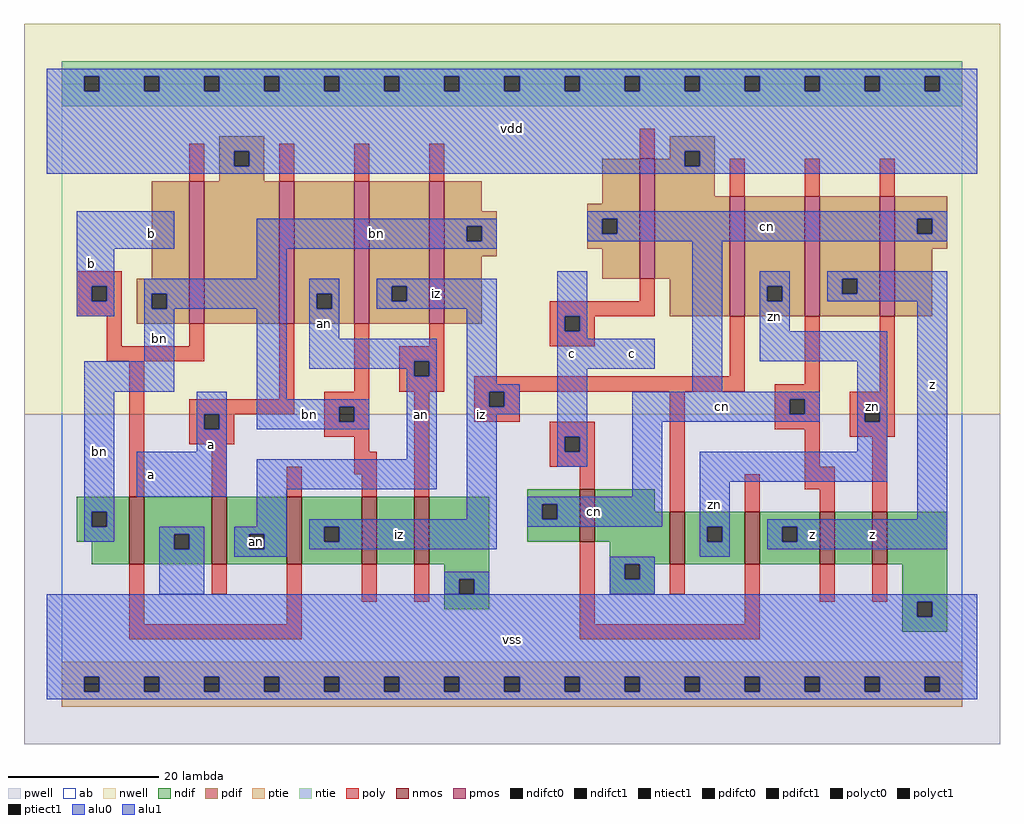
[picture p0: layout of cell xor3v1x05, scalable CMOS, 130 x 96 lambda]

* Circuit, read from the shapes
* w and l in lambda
.subckt xor3v1x05 a an b bn c cn iz vdd vss z zn
M1 vss b bn vss nfet w=9 l=2
M2 an a vss vss nfet w=9 l=2
M3 iz b an vss nfet w=9 l=2
M4 n1 bn iz vss nfet w=9 l=2
M5 vss an n1 vss nfet w=9 l=2
M6 vss c cn vss nfet w=7 l=2
M7 zn iz vss vss nfet w=7 l=2
M8 z c zn vss nfet w=7 l=2
M9 n2 cn z vss nfet w=7 l=2
M10 vss zn n2 vss nfet w=7 l=2
M11 vdd b bn vdd pfet w=19 l=2
M12 an a vdd vdd pfet w=19 l=2
M13 iz bn an vdd pfet w=19 l=2
M14 bn an iz vdd pfet w=19 l=2
M15 vdd c cn vdd pfet w=16 l=2
M16 zn iz vdd vdd pfet w=16 l=2
M17 z cn zn vdd pfet w=16 l=2
M18 cn zn z vdd pfet w=16 l=2
.ends

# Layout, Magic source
magic
tech scmos
<< ab >>
rect 0 0 120 80
<< nwell >>
rect -5 36 125 88
<< pwell >>
rect -5 -8 125 36
<< poly >>
rect 17 67 19 72
rect 29 67 31 72
rect 39 67 41 72
rect 49 67 51 72
rect 77 70 79 74
rect 2 53 8 55
rect 2 51 4 53
rect 6 51 8 53
rect 2 49 8 51
rect 6 45 8 49
rect 89 65 91 70
rect 99 65 101 70
rect 109 65 111 70
rect 77 51 79 54
rect 65 49 79 51
rect 17 45 19 48
rect 6 43 19 45
rect 9 25 11 43
rect 29 38 31 48
rect 39 39 41 48
rect 49 45 51 48
rect 65 47 67 49
rect 69 47 71 49
rect 65 45 71 47
rect 45 43 51 45
rect 45 41 47 43
rect 49 41 51 43
rect 89 41 91 49
rect 45 39 51 41
rect 55 39 91 41
rect 99 40 101 49
rect 17 36 31 38
rect 35 37 41 39
rect 17 34 19 36
rect 21 34 23 36
rect 17 32 23 34
rect 35 35 37 37
rect 39 35 41 37
rect 35 33 41 35
rect 20 25 22 32
rect 39 31 41 33
rect 30 25 32 29
rect 39 28 42 31
rect 40 25 42 28
rect 47 25 49 39
rect 55 37 57 39
rect 59 37 61 39
rect 55 35 61 37
rect 65 33 71 35
rect 65 31 67 33
rect 69 31 71 33
rect 65 29 71 31
rect 69 26 71 29
rect 81 23 83 39
rect 95 38 101 40
rect 109 39 111 49
rect 95 36 97 38
rect 99 36 101 38
rect 95 34 101 36
rect 99 29 101 34
rect 105 37 111 39
rect 105 35 107 37
rect 109 35 111 37
rect 105 33 111 35
rect 91 23 93 28
rect 99 26 103 29
rect 101 23 103 26
rect 108 23 110 33
rect 9 8 11 16
rect 20 12 22 16
rect 30 8 32 16
rect 40 11 42 16
rect 47 11 49 16
rect 9 6 32 8
rect 69 8 71 19
rect 81 12 83 16
rect 91 8 93 16
rect 101 11 103 16
rect 108 11 110 16
rect 69 6 93 8
<< ndif >>
rect 2 23 9 25
rect 2 21 4 23
rect 6 21 9 23
rect 2 19 9 21
rect 4 16 9 19
rect 11 20 20 25
rect 11 18 15 20
rect 17 18 20 20
rect 11 16 20 18
rect 22 20 30 25
rect 22 18 25 20
rect 27 18 30 20
rect 22 16 30 18
rect 32 21 40 25
rect 32 19 35 21
rect 37 19 40 21
rect 32 16 40 19
rect 42 16 47 25
rect 49 16 57 25
rect 62 24 69 26
rect 62 22 64 24
rect 66 22 69 24
rect 62 19 69 22
rect 71 23 79 26
rect 71 19 81 23
rect 51 14 57 16
rect 51 12 53 14
rect 55 12 57 14
rect 51 10 57 12
rect 73 16 81 19
rect 83 21 91 23
rect 83 19 86 21
rect 88 19 91 21
rect 83 16 91 19
rect 93 21 101 23
rect 93 19 96 21
rect 98 19 101 21
rect 93 16 101 19
rect 103 16 108 23
rect 110 16 118 23
rect 73 14 75 16
rect 77 14 79 16
rect 73 12 79 14
rect 112 11 118 16
rect 112 9 114 11
rect 116 9 118 11
rect 112 7 118 9
<< pdif >>
rect 21 71 27 73
rect 21 69 23 71
rect 25 69 27 71
rect 21 67 27 69
rect 81 71 87 73
rect 81 70 83 71
rect 12 54 17 67
rect 10 52 17 54
rect 10 50 12 52
rect 14 50 17 52
rect 10 48 17 50
rect 19 48 29 67
rect 31 52 39 67
rect 31 50 34 52
rect 36 50 39 52
rect 31 48 39 50
rect 41 53 49 67
rect 41 51 44 53
rect 46 51 49 53
rect 41 48 49 51
rect 51 63 56 67
rect 72 64 77 70
rect 51 61 58 63
rect 51 59 54 61
rect 56 59 58 61
rect 51 57 58 59
rect 70 62 77 64
rect 70 60 72 62
rect 74 60 77 62
rect 70 58 77 60
rect 51 48 56 57
rect 72 54 77 58
rect 79 69 83 70
rect 85 69 87 71
rect 79 65 87 69
rect 79 54 89 65
rect 81 49 89 54
rect 91 53 99 65
rect 91 51 94 53
rect 96 51 99 53
rect 91 49 99 51
rect 101 54 109 65
rect 101 52 104 54
rect 106 52 109 54
rect 101 49 109 52
rect 111 62 118 65
rect 111 60 114 62
rect 116 60 118 62
rect 111 58 118 60
rect 111 49 116 58
<< alu1 >>
rect -2 81 122 82
rect -2 79 3 81
rect 5 79 11 81
rect 13 79 19 81
rect 21 79 27 81
rect 29 79 35 81
rect 37 79 43 81
rect 45 79 51 81
rect 53 79 59 81
rect 61 79 67 81
rect 69 79 75 81
rect 77 79 83 81
rect 85 79 91 81
rect 93 79 99 81
rect 101 79 107 81
rect 109 79 115 81
rect 117 79 122 81
rect -2 71 122 79
rect -2 69 23 71
rect 25 69 83 71
rect 85 69 122 71
rect -2 68 122 69
rect 2 58 15 63
rect 2 53 7 58
rect 2 51 4 53
rect 6 51 7 53
rect 2 49 7 51
rect 18 36 22 39
rect 18 34 19 36
rect 21 34 22 36
rect 18 31 22 34
rect 10 25 22 31
rect 66 49 70 55
rect 66 47 67 49
rect 69 47 70 49
rect 66 46 70 47
rect 66 42 79 46
rect 66 33 70 42
rect 102 54 118 55
rect 102 52 104 54
rect 106 52 118 54
rect 102 51 118 52
rect 66 31 67 33
rect 69 31 70 33
rect 66 29 70 31
rect 114 22 118 51
rect 94 21 118 22
rect 94 19 96 21
rect 98 19 118 21
rect 94 18 118 19
rect -2 11 122 12
rect -2 9 114 11
rect 116 9 122 11
rect -2 1 122 9
rect -2 -1 3 1
rect 5 -1 11 1
rect 13 -1 19 1
rect 21 -1 27 1
rect 29 -1 35 1
rect 37 -1 43 1
rect 45 -1 51 1
rect 53 -1 59 1
rect 61 -1 67 1
rect 69 -1 75 1
rect 77 -1 83 1
rect 85 -1 91 1
rect 93 -1 99 1
rect 101 -1 107 1
rect 109 -1 115 1
rect 117 -1 122 1
rect -2 -2 122 -1
<< ptie >>
rect 0 1 120 3
rect 0 -1 3 1
rect 5 -1 11 1
rect 13 -1 19 1
rect 21 -1 27 1
rect 29 -1 35 1
rect 37 -1 43 1
rect 45 -1 51 1
rect 53 -1 59 1
rect 61 -1 67 1
rect 69 -1 75 1
rect 77 -1 83 1
rect 85 -1 91 1
rect 93 -1 99 1
rect 101 -1 107 1
rect 109 -1 115 1
rect 117 -1 120 1
rect 0 -3 120 -1
<< ntie >>
rect 0 81 120 83
rect 0 79 3 81
rect 5 79 11 81
rect 13 79 19 81
rect 21 79 27 81
rect 29 79 35 81
rect 37 79 43 81
rect 45 79 51 81
rect 53 79 59 81
rect 61 79 67 81
rect 69 79 75 81
rect 77 79 83 81
rect 85 79 91 81
rect 93 79 99 81
rect 101 79 107 81
rect 109 79 115 81
rect 117 79 120 81
rect 0 77 120 79
<< nmos >>
rect 9 16 11 25
rect 20 16 22 25
rect 30 16 32 25
rect 40 16 42 25
rect 47 16 49 25
rect 69 19 71 26
rect 81 16 83 23
rect 91 16 93 23
rect 101 16 103 23
rect 108 16 110 23
<< pmos >>
rect 17 48 19 67
rect 29 48 31 67
rect 39 48 41 67
rect 49 48 51 67
rect 77 54 79 70
rect 89 49 91 65
rect 99 49 101 65
rect 109 49 111 65
<< polyct0 >>
rect 47 41 49 43
rect 37 35 39 37
rect 57 37 59 39
rect 97 36 99 38
rect 107 35 109 37
<< polyct1 >>
rect 4 51 6 53
rect 67 47 69 49
rect 19 34 21 36
rect 67 31 69 33
<< ndifct0 >>
rect 4 21 6 23
rect 15 18 17 20
rect 25 18 27 20
rect 35 19 37 21
rect 64 22 66 24
rect 53 12 55 14
rect 86 19 88 21
rect 75 14 77 16
<< ndifct1 >>
rect 96 19 98 21
rect 114 9 116 11
<< ntiect1 >>
rect 3 79 5 81
rect 11 79 13 81
rect 19 79 21 81
rect 27 79 29 81
rect 35 79 37 81
rect 43 79 45 81
rect 51 79 53 81
rect 59 79 61 81
rect 67 79 69 81
rect 75 79 77 81
rect 83 79 85 81
rect 91 79 93 81
rect 99 79 101 81
rect 107 79 109 81
rect 115 79 117 81
<< ptiect1 >>
rect 3 -1 5 1
rect 11 -1 13 1
rect 19 -1 21 1
rect 27 -1 29 1
rect 35 -1 37 1
rect 43 -1 45 1
rect 51 -1 53 1
rect 59 -1 61 1
rect 67 -1 69 1
rect 75 -1 77 1
rect 83 -1 85 1
rect 91 -1 93 1
rect 99 -1 101 1
rect 107 -1 109 1
rect 115 -1 117 1
<< pdifct0 >>
rect 12 50 14 52
rect 34 50 36 52
rect 44 51 46 53
rect 54 59 56 61
rect 72 60 74 62
rect 94 51 96 53
rect 114 60 116 62
<< pdifct1 >>
rect 23 69 25 71
rect 83 69 85 71
rect 104 52 106 54
<< alu0 >>
rect 70 62 118 63
rect 26 61 58 62
rect 26 59 54 61
rect 56 59 58 61
rect 70 60 72 62
rect 74 60 114 62
rect 116 60 118 62
rect 70 59 118 60
rect 26 58 58 59
rect 26 54 30 58
rect 11 52 30 54
rect 11 50 12 52
rect 14 50 30 52
rect 11 43 15 50
rect 3 39 15 43
rect 3 23 7 39
rect 26 38 30 50
rect 33 52 37 54
rect 33 50 34 52
rect 36 50 37 52
rect 42 53 58 54
rect 42 51 44 53
rect 46 51 58 53
rect 42 50 58 51
rect 33 46 37 50
rect 33 43 50 46
rect 33 42 47 43
rect 46 41 47 42
rect 49 41 50 43
rect 26 37 41 38
rect 26 35 37 37
rect 39 35 41 37
rect 26 34 41 35
rect 46 30 50 41
rect 26 26 50 30
rect 54 40 58 50
rect 54 39 61 40
rect 54 37 57 39
rect 59 37 61 39
rect 54 36 61 37
rect 3 21 4 23
rect 6 21 7 23
rect 26 21 30 26
rect 54 22 58 36
rect 84 39 88 59
rect 93 53 97 55
rect 93 51 94 53
rect 96 51 97 53
rect 93 47 97 51
rect 93 43 110 47
rect 76 38 101 39
rect 76 36 97 38
rect 99 36 101 38
rect 76 35 101 36
rect 106 37 110 43
rect 106 35 107 37
rect 109 35 110 37
rect 76 25 80 35
rect 106 31 110 35
rect 3 19 7 21
rect 13 20 19 21
rect 13 18 15 20
rect 17 18 19 20
rect 13 12 19 18
rect 23 20 30 21
rect 23 18 25 20
rect 27 18 30 20
rect 33 21 58 22
rect 62 24 80 25
rect 62 22 64 24
rect 66 22 80 24
rect 62 21 80 22
rect 85 27 110 31
rect 85 21 89 27
rect 33 19 35 21
rect 37 19 58 21
rect 33 18 58 19
rect 85 19 86 21
rect 88 19 89 21
rect 23 17 30 18
rect 85 17 89 19
rect 73 16 79 17
rect 51 14 57 15
rect 51 12 53 14
rect 55 12 57 14
rect 73 14 75 16
rect 77 14 79 16
rect 73 12 79 14
<< labels >>
rlabel alu0 5 31 5 31 6 bn
rlabel alu0 13 46 13 46 6 bn
rlabel ndifct0 26 19 26 19 6 an
rlabel alu0 33 36 33 36 6 bn
rlabel alu0 35 48 35 48 6 an
rlabel alu0 45 20 45 20 6 iz
rlabel alu0 48 36 48 36 6 an
rlabel alu0 50 52 50 52 6 iz
rlabel alu0 56 36 56 36 6 iz
rlabel alu0 42 60 42 60 6 bn
rlabel alu0 71 23 71 23 6 cn
rlabel alu0 87 24 87 24 6 zn
rlabel alu0 108 37 108 37 6 zn
rlabel alu0 88 37 88 37 6 cn
rlabel alu0 95 49 95 49 6 zn
rlabel alu0 94 61 94 61 6 cn
rlabel alu1 12 28 12 28 6 a
rlabel alu1 20 32 20 32 6 a
rlabel alu1 4 56 4 56 6 b
rlabel alu1 12 60 12 60 6 b
rlabel alu1 60 6 60 6 6 vss
rlabel alu1 68 44 68 44 6 c
rlabel alu1 76 44 76 44 6 c
rlabel alu1 60 74 60 74 6 vdd
rlabel alu1 100 20 100 20 6 z
rlabel alu1 108 20 108 20 6 z
rlabel alu1 116 40 116 40 6 z
<< end >>
